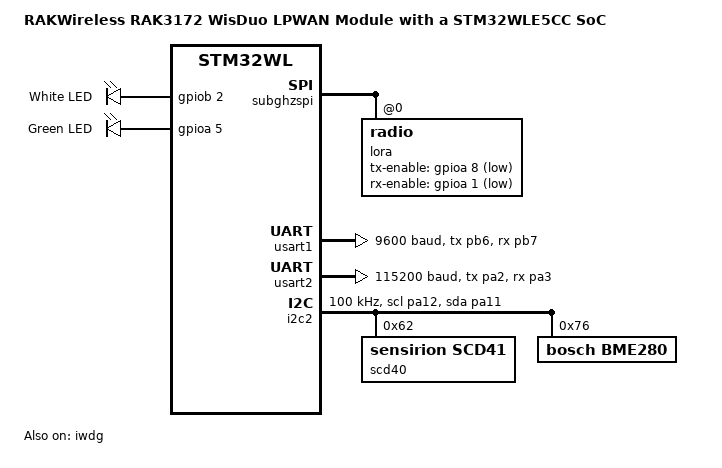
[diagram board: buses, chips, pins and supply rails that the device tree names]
/ {
	model = "RAKWireless RAK3172 WisDuo LPWAN Module with a STM32WLE5CC SoC";
	compatible = "stm32,rak3172_stm32wl";

	chosen {
		zephyr,console = &usart2;
		zephyr,shell-uart = &usart2;
		zephyr,sram = &sram0;
		zephyr,flash = &flash0;
		zephyr,code-partition = &slot0_partition;
		zephyr,lorawan-transceiver = &lora;
	};

	leds {
		compatible = "gpio-leds";

		led0: led_2 {
			gpios = <&gpiob 2 GPIO_ACTIVE_HIGH>;
			label = "White LED";
		};

		led1: led_1 {
			gpios = <&gpioa 5 GPIO_ACTIVE_HIGH>;
			label = "Green LED";
		};
	};

	aliases {
		systemled = &led0;
		lora0 = &lora;
		scd4x = &scd40;
		bme280 = &bme280;
		pms-uart = &usart1;
		watchdog0 = &iwdg;
	};
};

&iwdg {
	status = "okay";
};

&wwdg {
	status = "disabled";
};

&cpu0 {
	device_type = "cpu";
	compatible = "arm,cortex-m4";
	reg = <0>;
	cpu-power-states = <&stop0 &stop1>;
};

&subghzspi {
	status = "okay";
	lora: radio@0 {
		status = "okay";
		tx-enable-gpios = <&gpioa 8 GPIO_ACTIVE_LOW>; /* FE_CTRL1 */
		rx-enable-gpios = <&gpioa 1 GPIO_ACTIVE_LOW>;  /* FE_CTRL2 */
		power-amplifier-output = "rfo-hp";
		rfo-hp-max-power = <22>;
	};
};

&usart1 {
    current-speed = <9600>;
    status = "okay";
    pinctrl-0 = <&usart1_tx_pb6 &usart1_rx_pb7>;
	pinctrl-names = "default";
};

&usart2 {
    current-speed = <115200>;
    status = "okay";
    pinctrl-0 = <&usart2_tx_pa2 &usart2_rx_pa3>;
	pinctrl-names = "default";
};

&i2c2 {
	pinctrl-0 = <&i2c2_scl_pa12 &i2c2_sda_pa11>;
	pinctrl-names = "default";
	status = "okay";
	clock-frequency = <I2C_BITRATE_STANDARD>;

	scd40: scd40@62 {
        status = "okay";
        reg = <0x62>;
		mode = <0>;
        compatible = "sensirion,scd41";
    };

	bme280: bme280@76 {
		compatible = "bosch,bme280";
		reg = <0x76>;
	};

};
